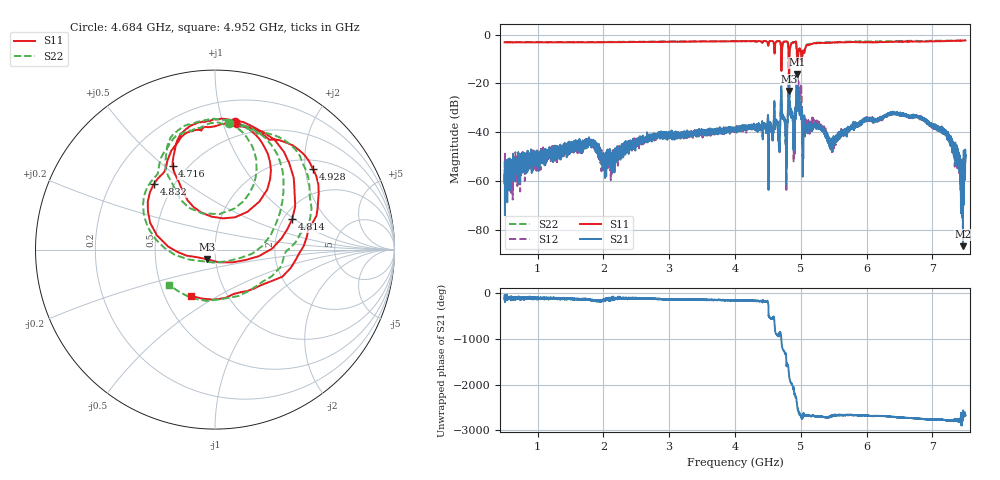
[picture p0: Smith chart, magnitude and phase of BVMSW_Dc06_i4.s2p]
!Keysight Technologies,M9374A,MY55442783,A.12.55.05
!Date: Friday, May 21, 2021 09:55:03
!Correction: S11(Full 2 Port(1,2))
!S21(Full 2 Port(1,2))
!S12(Full 2 Port(1,2))
!S22(Full 2 Port(1,2))
!S2P File: Measurements: S11, S21, S12, S22:
# Hz S  RI  R 50
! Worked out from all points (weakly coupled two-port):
!   7001 points, 500 MHz to 7.5 GHz, reference 50 ohm
!   highest |S21| = -16.25 dB at 4.94 GHz (marker M1); lowest = -86.8 dB at 7.463 GHz (marker M2)
!   lowest |S11| = -23.2 dB at 4.822 GHz (marker M3), VSWR 1.15, Z = 45.6 - j4.95 ohm
!   |S11| at or under -10 dB: 4.702521 GHz to 4.709042 GHz (6.521 MHz wide, 0.139 % of centre); 4.817035 GHz to 4.826781 GHz (9.746 MHz wide, 0.202 % of centre); 4.944444 GHz to 4.954768 GHz (10.32 MHz wide, 0.209 % of centre) (the widest 3 of 4)
!   |S22| runs from -22.8 to -2.4 dB; largest |S21 - S12| = 0.12
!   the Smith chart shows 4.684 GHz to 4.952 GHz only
!   S11 on the Smith chart (normalised r, x): 4.684 GHz: 0.37, +1.10; 4.716 GHz: 0.42, +0.53; 4.814 GHz: 2.22, +0.95; 4.832 GHz: 0.39, +0.38; 4.928 GHz: 1.22, +2.20; 4.952 GHz: 0.68, -0.38
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5e8  -0.6848 0.1053  -0.000728 -0.0015  -0.00129 -0.00221  -0.6976 0.1007
1.667e9  -0.6115 0.3274  -0.00223 -0.00397  -0.00413 -0.00478  -0.6294 0.3148
2.102e9  -0.5698 0.4027  -0.00179 -0.00135  -0.00201 -0.00195  -0.594 0.3851
2.834e9  -0.4848 0.5173  -0.00498 -0.00651  -0.00495 -0.00632  -0.5144 0.5037
4e9  -0.2842 0.6729  -0.0102 -0.00628  -0.0109 -0.00581  -0.3243 0.6558
4.684e9  0.1141 0.71  -0.00689 -0.00828  -0.00772 -0.00721  0.0785 0.7048
4.716e9  -0.2366 0.4645  -0.00576 -0.0225  -0.00327 -0.022  -0.2742 0.5167
4.766e9  0.00716 0.7239  -0.00427 0.00725  -0.00342 0.0076  -0.038 0.725
4.814e9  0.4297 0.1687  -0.0674 0.097  -0.0634 0.1017  0.3106 0.0811
4.822e9  -0.0434 -0.0541  0.1193 -0.00233  0.1177 0.00259  -0.224 -0.0294
4.832e9  -0.3416 0.3641  0.00609 -0.0366  0.00557 -0.0395  -0.3375 0.4018
4.891e9  0.0372 0.6995  -0.00133 0.00829  0.0011 0.00333  -0.00222 0.708
4.928e9  0.545 0.4514  -0.0182 -0.0464  -0.00883 -0.0456  0.5187 0.4058
4.94e9  0.4511 -0.0545  -0.041 0.1485  -0.053 0.161  0.3698 -0.0928
4.952e9  -0.1327 -0.2588  0.072 -0.0221  0.1396 -0.0409  -0.2564 -0.1964
5.05e9  -0.2465 0.3523  -0.00813 -0.0135  -0.00946 -0.00949  -0.2957 0.3074
5.167e9  -0.2836 0.5677  -0.0123 -0.00218  -0.014 -0.0101  -0.35 0.5461
5.47e9  -0.1699 0.6624  -0.00578 -0.00064  -0.0064 0.000118  -0.2494 0.6524
6.334e9  -0.0254 0.7075  -0.0234 -0.00191  -0.0235 -0.00158  -0.0976 0.7291
7.178e9  0.0829 0.7298  -0.00277 0.0109  -0.00232 0.00995  0.0271 0.7481
7.463e9  0.1254 0.7447  3.31e-05 -3.13e-05  -0.000673 0.00037  0.0635 0.7499
7.5e9  0.1326 0.7446  -0.0028 -0.00163  -0.00233 -0.000558  0.0689 0.7492
